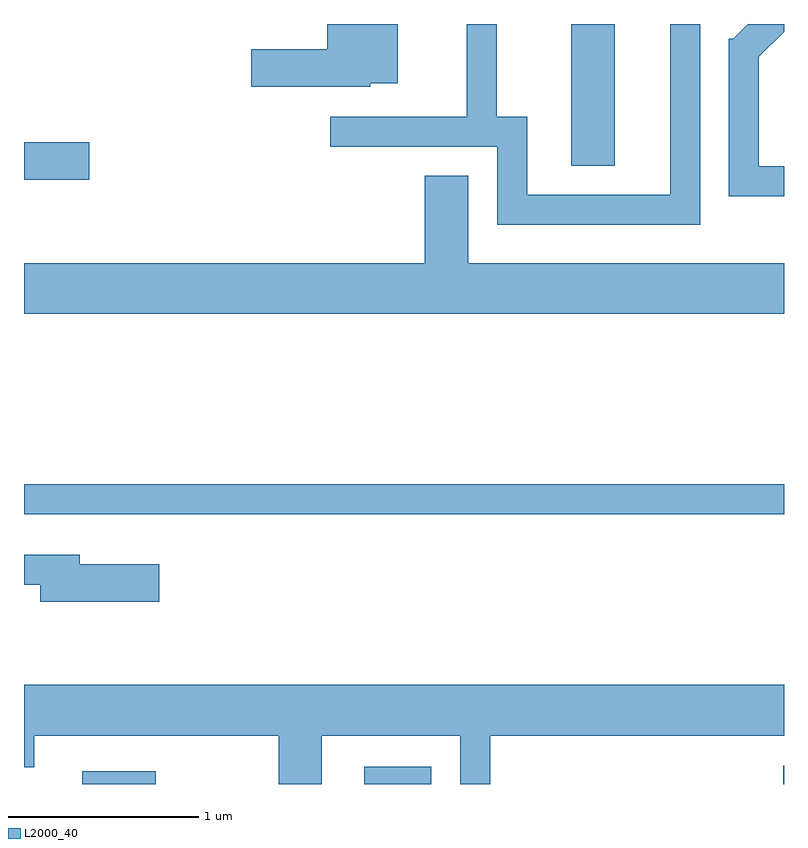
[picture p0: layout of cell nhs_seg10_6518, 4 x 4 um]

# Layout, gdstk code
import gdstk
lib = gdstk.Library(unit=1e-6, precision=1e-09)
def R(c, l, rs):  # rectangles x0, y0, x1, y1
    for r in rs: c.add(gdstk.rectangle(r[:2], r[2:], *l))
def P(c, l, *ps):  # polygons
    for p in ps: c.add(gdstk.Polygon(p, *l))
L2000_40 = (2000, 40)

nhs_seg10_6518 = lib.new_cell('nhs_seg10_6518')
R(nhs_seg10_6518, L2000_40, [(377.918,2142.522,378.304,2142.589), (379.403,2142.522,379.754,2142.614), (381.608,2142.522,381.611,2142.619), (377.611,2143.941,381.611,2144.099), (377.611,2145.701,377.954,2145.899), (380.491,2145.776,380.719,2146.522)])
P(nhs_seg10_6518, L2000_40, [(379.434,2146.211),(379.579,2146.211),(379.579,2146.522),(379.206,2146.522),(379.206,2146.389),(378.806,2146.389),(378.806,2146.191),(379.434,2146.191)],
  [(381.169,2146.522),(381.011,2146.522),(381.011,2145.624),(380.259,2145.624),(380.259,2146.034),(380.099,2146.034),(380.099,2146.522),(379.941,2146.522),(379.941,2146.034),(379.223,2146.034),(379.223,2145.876),(380.101,2145.876),(380.101,2145.466),(381.169,2145.466)],
  [(381.611,2145.774),(381.479,2145.774),(381.479,2146.349),(381.611,2146.481),(381.611,2146.522),(381.421,2146.522),(381.344,2146.444),(381.321,2146.444),(381.321,2145.616),(381.611,2145.616)],
  [(381.611,2145.264),(379.949,2145.264),(379.949,2145.724),(379.721,2145.724),(379.721,2145.264),(377.611,2145.264),(377.611,2144.996),(381.611,2144.996)],
  [(378.324,2143.679),(377.904,2143.679),(377.904,2143.729),(377.611,2143.729),(377.611,2143.571),(377.696,2143.571),(377.696,2143.481),(378.324,2143.481)],
  [(379.179,2142.776),(379.906,2142.776),(379.906,2142.522),(380.064,2142.522),(380.064,2142.776),(381.611,2142.776),(381.611,2143.044),(377.611,2143.044),(377.611,2142.611),(377.664,2142.611),(377.664,2142.776),(378.951,2142.776),(378.951,2142.522),(379.179,2142.522)])

lib.write_gds('nhs_seg10_6518.gds')
